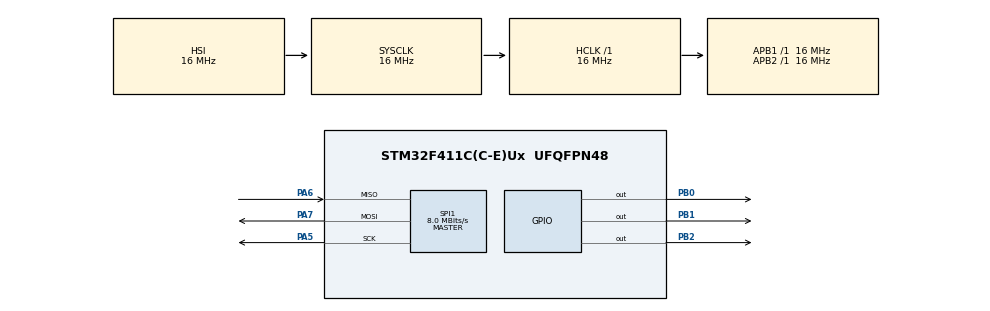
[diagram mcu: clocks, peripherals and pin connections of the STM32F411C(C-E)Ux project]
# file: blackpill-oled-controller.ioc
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Mcu.Family=STM32F4
Mcu.Name=STM32F411C(C-E)Ux
Mcu.Package=UFQFPN48
NVIC.PriorityGroup=NVIC_PRIORITYGROUP_4
PA5.Mode=Full_Duplex_Master
PA5.Signal=SPI1_SCK
PA6.Mode=Full_Duplex_Master
PA6.Signal=SPI1_MISO
PA7.Mode=Full_Duplex_Master
PA7.Signal=SPI1_MOSI
PB0.Signal=GPIO_Output
PB1.Signal=GPIO_Output
PB2.Signal=GPIO_Output
ProjectManager.HeapSize=0x200
ProjectManager.StackSize=0x400
ProjectManager.TargetToolchain=STM32CubeIDE
RCC.AHBFreq_Value=16000000
RCC.APB1Freq_Value=16000000
RCC.APB2Freq_Value=16000000
RCC.CortexFreq_Value=16000000
RCC.HSE_VALUE=25000000
RCC.HSI_VALUE=16000000
RCC.LSE_VALUE=32768
RCC.SYSCLKFreq_VALUE=16000000
RCC.VCOOutputFreq_Value=192000000
SPI1.CalculateBaudRate=8.0 MBits/s
SPI1.Direction=SPI_DIRECTION_2LINES
SPI1.Mode=SPI_MODE_MASTER
SPI1.VirtualType=VM_MASTER
board=custom

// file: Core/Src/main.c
/* USER CODE BEGIN Header */
/**
  ******************************************************************************
  * @file           : main.c
  * @brief          : Main program body
  ******************************************************************************
  * @attention
  *
  * Copyright (c) 2025 STMicroelectronics.
  * All rights reserved.
  *
  * This software is licensed under terms that can be found in the LICENSE file
  * in the root directory of this software component.
  * If no LICENSE file comes with this software, it is provided AS-IS.
  *
  ******************************************************************************
  */
/* USER CODE END Header */
#include "main.h"

/* USER CODE BEGIN Includes */
#include "ssd1306.h"
#include "ssd1306_tests.h"
#include "ssd1306_fonts.h"
/* USER CODE END Includes */

SPI_HandleTypeDef hspi1;

void SystemClock_Config(void);
static void MX_GPIO_Init(void);
static void MX_SPI1_Init(void);

int main(void)
{

  /* MCU Configuration--------------------------------------------------------*/

  /* Reset of all peripherals, Initializes the Flash interface and the Systick. */
  HAL_Init();

  /* Configure the system clock */
  SystemClock_Config();

  /* Initialize all configured peripherals */
  MX_GPIO_Init();
  MX_SPI1_Init();
  /* USER CODE BEGIN 2 */
  ssd1306_Init();

  ssd1306_Fill(Black);

  char buf[32];
  uint32_t sysclk = HAL_RCC_GetSysClockFreq();
  sprintf(buf, "SYSCLK: %lu MHz", sysclk / 1000000);
  ssd1306_SetCursor(2, 0);
  ssd1306_WriteString(buf, Font_6x8, White);

  ssd1306_SetCursor(2, 10);
  ssd1306_WriteString("Flash: 512 KB", Font_6x8, White);

  ssd1306_SetCursor(2, 20);
  ssd1306_WriteString("SRAM: 128 KB", Font_6x8, White);

  ssd1306_SetCursor(2, 30);
  ssd1306_WriteString("Ext Flash: N/A", Font_6x8, White);

  ssd1306_UpdateScreen();
  /* USER CODE END 2 */

  /* Infinite loop */
  while (1)
  {
	  //ssd1306_TestAll();
  }
}

void SystemClock_Config(void)
{
  RCC_OscInitTypeDef RCC_OscInitStruct = {0};
  RCC_ClkInitTypeDef RCC_ClkInitStruct = {0};

  /** Configure the main internal regulator output voltage
  */
  __HAL_RCC_PWR_CLK_ENABLE();
  __HAL_PWR_VOLTAGESCALING_CONFIG(PWR_REGULATOR_VOLTAGE_SCALE1);

  /** Initializes the RCC Oscillators according to the specified parameters
  * in the RCC_OscInitTypeDef structure.
  */
  RCC_OscInitStruct.OscillatorType = RCC_OSCILLATORTYPE_HSI;
  RCC_OscInitStruct.HSIState = RCC_HSI_ON;
  RCC_OscInitStruct.HSICalibrationValue = RCC_HSICALIBRATION_DEFAULT;
  RCC_OscInitStruct.PLL.PLLState = RCC_PLL_NONE;
  if (HAL_RCC_OscConfig(&RCC_OscInitStruct) != HAL_OK)
  {
    Error_Handler();
  }

  /** Initializes the CPU, AHB and APB buses clocks
  */
  RCC_ClkInitStruct.ClockType = RCC_CLOCKTYPE_HCLK|RCC_CLOCKTYPE_SYSCLK
                              |RCC_CLOCKTYPE_PCLK1|RCC_CLOCKTYPE_PCLK2;
  RCC_ClkInitStruct.SYSCLKSource = RCC_SYSCLKSOURCE_HSI;
  RCC_ClkInitStruct.AHBCLKDivider = RCC_SYSCLK_DIV1;
  RCC_ClkInitStruct.APB1CLKDivider = RCC_HCLK_DIV1;
  RCC_ClkInitStruct.APB2CLKDivider = RCC_HCLK_DIV1;

  if (HAL_RCC_ClockConfig(&RCC_ClkInitStruct, FLASH_LATENCY_0) != HAL_OK)
  {
    Error_Handler();
  }
}

static void MX_SPI1_Init(void)
{

  /* SPI1 parameter configuration*/
  hspi1.Instance = SPI1;
  hspi1.Init.Mode = SPI_MODE_MASTER;
  hspi1.Init.Direction = SPI_DIRECTION_2LINES;
  hspi1.Init.DataSize = SPI_DATASIZE_8BIT;
  hspi1.Init.CLKPolarity = SPI_POLARITY_LOW;
  hspi1.Init.CLKPhase = SPI_PHASE_1EDGE;
  hspi1.Init.NSS = SPI_NSS_SOFT;
  hspi1.Init.BaudRatePrescaler = SPI_BAUDRATEPRESCALER_2;
  hspi1.Init.FirstBit = SPI_FIRSTBIT_MSB;
  hspi1.Init.TIMode = SPI_TIMODE_DISABLE;
  hspi1.Init.CRCCalculation = SPI_CRCCALCULATION_DISABLE;
  hspi1.Init.CRCPolynomial = 10;
  if (HAL_SPI_Init(&hspi1) != HAL_OK)
  {
    Error_Handler();
  }

}

static void MX_GPIO_Init(void)
{
  GPIO_InitTypeDef GPIO_InitStruct = {0};

  /* GPIO Ports Clock Enable */
  __HAL_RCC_GPIOA_CLK_ENABLE();
  __HAL_RCC_GPIOB_CLK_ENABLE();

  /*Configure GPIO pin Output Level */
  HAL_GPIO_WritePin(GPIOB, GPIO_PIN_0|GPIO_PIN_1|GPIO_PIN_2, GPIO_PIN_RESET);

  /*Configure GPIO pins : PB0 PB1 PB2 */
  GPIO_InitStruct.Pin = GPIO_PIN_0|GPIO_PIN_1|GPIO_PIN_2;
  GPIO_InitStruct.Mode = GPIO_MODE_OUTPUT_PP;
  GPIO_InitStruct.Pull = GPIO_NOPULL;
  GPIO_InitStruct.Speed = GPIO_SPEED_FREQ_LOW;
  HAL_GPIO_Init(GPIOB, &GPIO_InitStruct);

}

void Error_Handler(void)
{
  __disable_irq();
  while (1)
  {
  }
}
